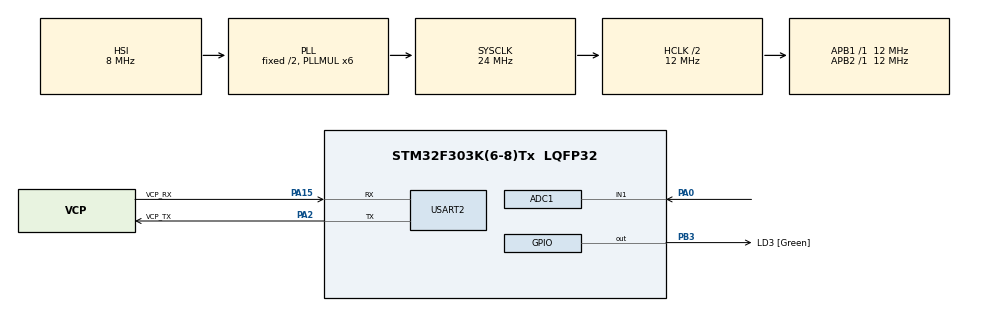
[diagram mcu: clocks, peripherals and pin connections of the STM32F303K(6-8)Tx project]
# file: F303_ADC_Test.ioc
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ADC1.Channel-0\#ChannelRegularConversion=ADC_CHANNEL_1
ADC1.NbrOfConversionFlag=1
ADC1.Offset-0\#ChannelRegularConversion=0
ADC1.OffsetNumber-0\#ChannelRegularConversion=ADC_OFFSET_NONE
ADC1.Rank-0\#ChannelRegularConversion=1
ADC1.SamplingTime-0\#ChannelRegularConversion=ADC_SAMPLETIME_1CYCLE_5
ADC1.SubFamily=STM32F303x8
ADC1.master=1
Mcu.Family=STM32F3
Mcu.Name=STM32F303K(6-8)Tx
Mcu.Package=LQFP32
NVIC.PriorityGroup=NVIC_PRIORITYGROUP_4
PA0.Mode=IN1-Single-Ended
PA0.Signal=ADC1_IN1
PA13.GPIO_Label=SWDIO
PA13.Mode=Serial_Wire
PA13.Signal=SYS_JTMS-SWDIO
PA14.GPIO_Label=SWCLK
PA14.Mode=Serial_Wire
PA14.Signal=SYS_JTCK-SWCLK
PA15.GPIO_Label=VCP_RX
PA15.Mode=Asynchronous
PA15.Signal=USART2_RX
PA2.GPIO_Label=VCP_TX
PA2.Mode=Asynchronous
PA2.Signal=USART2_TX
PB3.GPIO_Label=LD3 [Green]
PB3.Signal=GPIO_Output
PF0\ /\ OSC_IN.GPIO_Label=MCO
PF0\ /\ OSC_IN.Mode=HSE-External-Oscillator
PF0\ /\ OSC_IN.Signal=RCC_OSC_IN
PF1\ /\ OSC_OUT.Mode=HSE-External-Oscillator
PF1\ /\ OSC_OUT.Signal=RCC_OSC_OUT
ProjectManager.HeapSize=0x200
ProjectManager.StackSize=0x400
ProjectManager.TargetToolchain=STM32CubeIDE
RCC.AHBCLKDivider=RCC_SYSCLK_DIV2
RCC.AHBFreq_Value=12000000
RCC.APB1Freq_Value=12000000
RCC.APB1TimFreq_Value=12000000
RCC.APB2Freq_Value=12000000
RCC.APB2TimFreq_Value=12000000
RCC.CortexFreq_Value=12000000
RCC.HCLKFreq_Value=12000000
RCC.HSE_VALUE=8000000
RCC.HSI_VALUE=8000000
RCC.PLLMUL=RCC_PLL_MUL6
RCC.SYSCLKFreq_VALUE=24000000
RCC.SYSCLKSourceVirtual=RCC_SYSCLKSOURCE_PLLCLK
USART2.VirtualMode-Asynchronous=VM_ASYNC
board=NUCLEO-F303K8

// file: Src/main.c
/* USER CODE BEGIN Header */
/**
  ******************************************************************************
  * @file           : main.c
  * @brief          : Main program body
  ******************************************************************************
  * @attention
  *
  * <h2><center>&copy; Copyright (c) 2019 STMicroelectronics.
  * All rights reserved.</center></h2>
  *
  * This software component is licensed by ST under BSD 3-Clause license,
  * the "License"; You may not use this file except in compliance with the
  * License. You may obtain a copy of the License at:
  *                        opensource.org/licenses/BSD-3-Clause
  *
  ******************************************************************************
  */
/* USER CODE END Header */

#include "main.h"

/* USER CODE BEGIN Includes */
#include "print_UART.h"
#include "math.h"
/* USER CODE END Includes */

ADC_HandleTypeDef hadc1;

UART_HandleTypeDef huart2;

void SystemClock_Config(void);
static void MX_GPIO_Init(void);
static void MX_USART2_UART_Init(void);
static void MX_ADC1_Init(void);
/* USER CODE BEGIN PFP */
float check_ADC(ADC_HandleTypeDef *hadc, uint16_t *pData, uint16_t Size);
/* USER CODE END PFP */

int main(void)
{

  /* MCU Configuration--------------------------------------------------------*/

  /* Reset of all peripherals, Initializes the Flash interface and the Systick. */
  HAL_Init();

  /* Configure the system clock */
  SystemClock_Config();

  /* Initialize all configured peripherals */
  MX_GPIO_Init();
  MX_USART2_UART_Init();
  MX_ADC1_Init();
  /* USER CODE BEGIN 2 */
  uint16_t rawValues[200] ;
  uint16_t value_adc;
  /* USER CODE END 2 */

  /* Infinite loop */
  /* USER CODE BEGIN WHILE */
  while (1)
  {
	  value_adc = check_ADC(&hadc1, rawValues, 200);
	  tx_UART_int(&huart2, value_adc, 10);

    /* USER CODE END WHILE */

  }
}

void SystemClock_Config(void)
{
  RCC_OscInitTypeDef RCC_OscInitStruct = {0};
  RCC_ClkInitTypeDef RCC_ClkInitStruct = {0};
  RCC_PeriphCLKInitTypeDef PeriphClkInit = {0};

  /** Initializes the CPU, AHB and APB busses clocks
  */
  RCC_OscInitStruct.OscillatorType = RCC_OSCILLATORTYPE_HSI;
  RCC_OscInitStruct.HSIState = RCC_HSI_ON;
  RCC_OscInitStruct.HSICalibrationValue = RCC_HSICALIBRATION_DEFAULT;
  RCC_OscInitStruct.PLL.PLLState = RCC_PLL_ON;
  RCC_OscInitStruct.PLL.PLLSource = RCC_PLLSOURCE_HSI;
  RCC_OscInitStruct.PLL.PLLMUL = RCC_PLL_MUL6;
  if (HAL_RCC_OscConfig(&RCC_OscInitStruct) != HAL_OK)
  {
    Error_Handler();
  }
  /** Initializes the CPU, AHB and APB busses clocks
  */
  RCC_ClkInitStruct.ClockType = RCC_CLOCKTYPE_HCLK|RCC_CLOCKTYPE_SYSCLK
                              |RCC_CLOCKTYPE_PCLK1|RCC_CLOCKTYPE_PCLK2;
  RCC_ClkInitStruct.SYSCLKSource = RCC_SYSCLKSOURCE_PLLCLK;
  RCC_ClkInitStruct.AHBCLKDivider = RCC_SYSCLK_DIV2;
  RCC_ClkInitStruct.APB1CLKDivider = RCC_HCLK_DIV1;
  RCC_ClkInitStruct.APB2CLKDivider = RCC_HCLK_DIV1;

  if (HAL_RCC_ClockConfig(&RCC_ClkInitStruct, FLASH_LATENCY_0) != HAL_OK)
  {
    Error_Handler();
  }
  PeriphClkInit.PeriphClockSelection = RCC_PERIPHCLK_ADC12;
  PeriphClkInit.Adc12ClockSelection = RCC_ADC12PLLCLK_DIV1;
  if (HAL_RCCEx_PeriphCLKConfig(&PeriphClkInit) != HAL_OK)
  {
    Error_Handler();
  }
}

static void MX_ADC1_Init(void)
{

  ADC_MultiModeTypeDef multimode = {0};
  ADC_ChannelConfTypeDef sConfig = {0};

  /** Common config
  */
  hadc1.Instance = ADC1;
  hadc1.Init.ClockPrescaler = ADC_CLOCK_ASYNC_DIV1;
  hadc1.Init.Resolution = ADC_RESOLUTION_12B;
  hadc1.Init.ScanConvMode = ADC_SCAN_DISABLE;
  hadc1.Init.ContinuousConvMode = DISABLE;
  hadc1.Init.DiscontinuousConvMode = DISABLE;
  hadc1.Init.ExternalTrigConvEdge = ADC_EXTERNALTRIGCONVEDGE_NONE;
  hadc1.Init.ExternalTrigConv = ADC_SOFTWARE_START;
  hadc1.Init.DataAlign = ADC_DATAALIGN_RIGHT;
  hadc1.Init.NbrOfConversion = 1;
  hadc1.Init.DMAContinuousRequests = DISABLE;
  hadc1.Init.EOCSelection = ADC_EOC_SINGLE_CONV;
  hadc1.Init.LowPowerAutoWait = DISABLE;
  hadc1.Init.Overrun = ADC_OVR_DATA_OVERWRITTEN;
  if (HAL_ADC_Init(&hadc1) != HAL_OK)
  {
    Error_Handler();
  }
  /** Configure the ADC multi-mode
  */
  multimode.Mode = ADC_MODE_INDEPENDENT;
  if (HAL_ADCEx_MultiModeConfigChannel(&hadc1, &multimode) != HAL_OK)
  {
    Error_Handler();
  }
  /** Configure Regular Channel
  */
  sConfig.Channel = ADC_CHANNEL_1;
  sConfig.Rank = ADC_REGULAR_RANK_1;
  sConfig.SingleDiff = ADC_SINGLE_ENDED;
  sConfig.SamplingTime = ADC_SAMPLETIME_1CYCLE_5;
  sConfig.OffsetNumber = ADC_OFFSET_NONE;
  sConfig.Offset = 0;
  if (HAL_ADC_ConfigChannel(&hadc1, &sConfig) != HAL_OK)
  {
    Error_Handler();
  }

}

static void MX_USART2_UART_Init(void)
{

  huart2.Instance = USART2;
  huart2.Init.BaudRate = 38400;
  huart2.Init.WordLength = UART_WORDLENGTH_8B;
  huart2.Init.StopBits = UART_STOPBITS_1;
  huart2.Init.Parity = UART_PARITY_NONE;
  huart2.Init.Mode = UART_MODE_TX_RX;
  huart2.Init.HwFlowCtl = UART_HWCONTROL_NONE;
  huart2.Init.OverSampling = UART_OVERSAMPLING_16;
  huart2.Init.OneBitSampling = UART_ONE_BIT_SAMPLE_DISABLE;
  huart2.AdvancedInit.AdvFeatureInit = UART_ADVFEATURE_NO_INIT;
  if (HAL_UART_Init(&huart2) != HAL_OK)
  {
    Error_Handler();
  }

}

static void MX_GPIO_Init(void)
{
  GPIO_InitTypeDef GPIO_InitStruct = {0};

  /* GPIO Ports Clock Enable */
  __HAL_RCC_GPIOF_CLK_ENABLE();
  __HAL_RCC_GPIOA_CLK_ENABLE();
  __HAL_RCC_GPIOB_CLK_ENABLE();

  /*Configure GPIO pin Output Level */
  HAL_GPIO_WritePin(LD3_GPIO_Port, LD3_Pin, GPIO_PIN_RESET);

  /*Configure GPIO pin : LD3_Pin */
  GPIO_InitStruct.Pin = LD3_Pin;
  GPIO_InitStruct.Mode = GPIO_MODE_OUTPUT_PP;
  GPIO_InitStruct.Pull = GPIO_NOPULL;
  GPIO_InitStruct.Speed = GPIO_SPEED_FREQ_LOW;
  HAL_GPIO_Init(LD3_GPIO_Port, &GPIO_InitStruct);

}

/* USER CODE BEGIN 4 */
float check_ADC(ADC_HandleTypeDef *hadc, uint16_t *pData, uint16_t Size){
	double data_adc;
	double processed_adc;
	for (uint8_t i=0;i<Size;i++){
		HAL_ADC_Start(&hadc1);
		HAL_ADC_PollForConversion(&hadc1, 1000);
		pData[i] = HAL_ADC_GetValue(&hadc1);
		HAL_ADC_Stop(&hadc1);
		data_adc = pData[i]*3300/4095;
		processed_adc += data_adc;

		HAL_Delay(1); // Sustituir por timer
		HAL_GPIO_TogglePin(GPIOB, GPIO_PIN_3);
	}

	processed_adc = processed_adc/Size;
	processed_adc = processed_adc/(10*0.908);
	processed_adc = round(processed_adc);
	processed_adc = processed_adc*10;

	return processed_adc;
}
/* USER CODE END 4 */

void Error_Handler(void)
{
}

/************************ (C) COPYRIGHT STMicroelectronics *****END OF FILE****/
